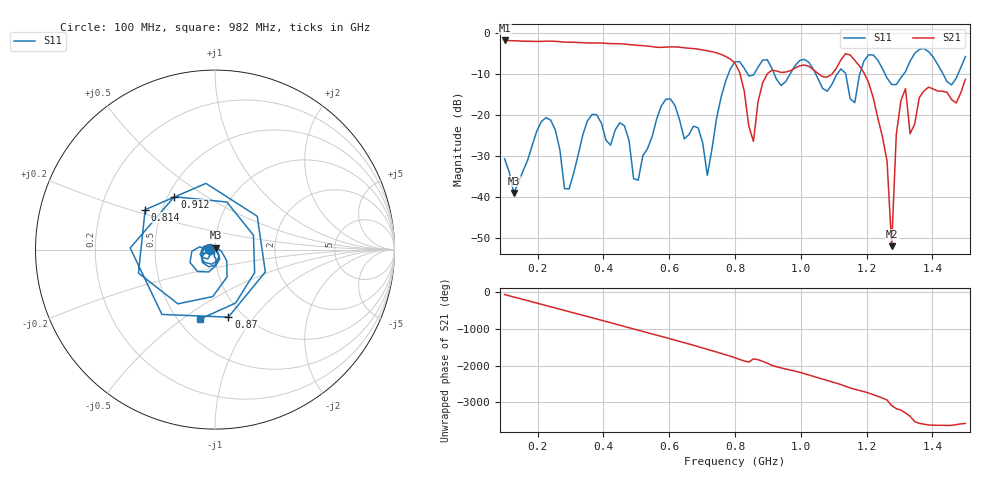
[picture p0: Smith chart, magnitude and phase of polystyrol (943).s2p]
! NanoVNA-App
! Date: 2025-09-25 15:37:13
! Start: 100MHz Stop: 1,5GHz Points: 101
! S-Parameter data: F S11 S21 S12 S22
# Hz S RI R 50
!  Frequency  S11_Real  S11_Imag  S21_Real  S21_Imag  S12_Real  S12_Imag  S22_Real  S22_Imag
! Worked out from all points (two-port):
!   101 points, 100 MHz to 1.5 GHz, reference 50 ohm
!   highest |S21| = -1.80 dB at 100 MHz (marker M1); lowest = -52.1 dB at 1.276 GHz (marker M2)
!   |S21| within 3 dB of the highest: start of sweep to 743.3 MHz
!   lowest |S11| = -39.1 dB at 128 MHz (marker M3), VSWR 1.02, Z = 50.3 + j1.06 ohm
!   |S11| at or under -10 dB: start of sweep to 779.9 MHz; 1.045 GHz to 1.11 GHz (65.03 MHz wide, 6.03 % of centre); 1.256 GHz to 1.313 GHz (56.55 MHz wide, 4.4 % of centre) (the widest 3 of 7)
!   S12 and S22 are empty: the file has one direction only
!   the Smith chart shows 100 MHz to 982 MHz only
!   S11 on the Smith chart (normalised r, x): 100 MHz: 0.94, -0.01; 814 MHz: 0.40, +0.22; 870 MHz: 0.85, -0.75; 912 MHz: 0.54, +0.37; 982 MHz: 0.63, -0.58
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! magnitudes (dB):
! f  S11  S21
! 100 MHz  -30.7  -1.8
! 128 MHz  -39.1  -1.9
! 212 MHz  -21.6  -2.0
! 282 MHz  -38.0  -2.2
! 338 MHz  -24.7  -2.3
! 506 MHz  -35.9  -3.0
! 576 MHz  -17.8  -3.5
! 716 MHz  -34.7  -4.3
! 800 MHz  -7.0  -7.3
! 814 MHz  -7.0  -9.6
! 856 MHz  -10.3  -26.5
! 870 MHz  -8.3  -16.8
! 912 MHz  -8.6  -9.0
! 982 MHz  -8.0  -8.6
! 1.038 GHz  -8.8  -8.9
! 1.206 GHz  -5.3  -12.1
! 1.262 GHz  -11.0  -31.3
! 1.276 GHz  -12.6  -52.1
! 1.29 GHz  -12.6  -24.8
! 1.318 GHz  -9.4  -13.5
! 1.332 GHz  -6.9  -24.6
! 1.5 GHz  -5.8  -11.3
